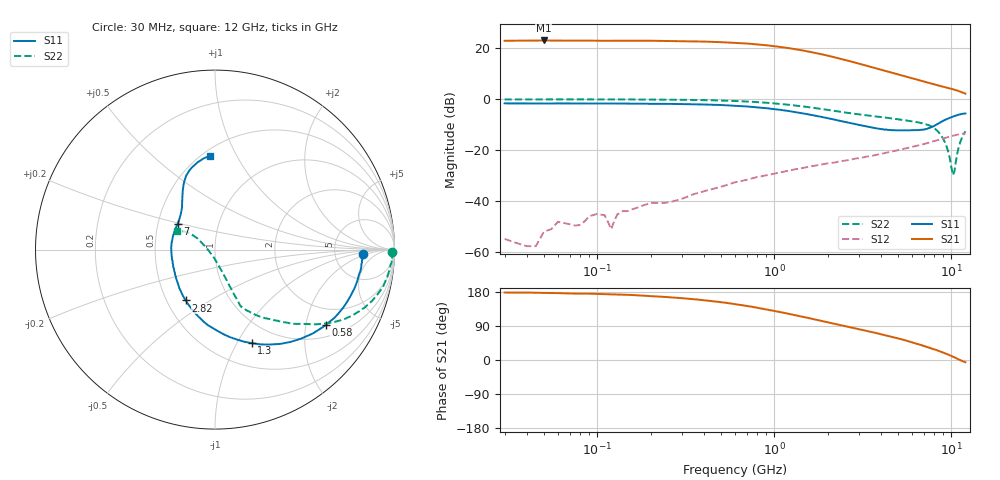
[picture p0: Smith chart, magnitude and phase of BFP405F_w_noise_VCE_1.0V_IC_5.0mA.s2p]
! Infineon Technologies  Discrete & RF Semiconductors
! BFP405F
! VCE =  1.0 V,  IC =  5.0 mA
! Common Emitter S-Parameters:  Nov 2015
# GHz  S  MA  R  50
!  f  S11  S21  S12  S22
! GHz  MAG  ANG  MAG  ANG  MAG  ANG  MAG  ANG
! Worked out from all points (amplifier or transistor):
!   239 points, 30 MHz to 12 GHz, reference 50 ohm
!   highest |S21| = 23.0 dB at 50 MHz (marker M1)
!   |S21| within 3 dB of that: start of sweep to 1.204 GHz
!   unconditionally stable (mu >= 1): 2.822 GHz to end of sweep
!   at 300 MHz: K = 0.14, MSG = 31.0 dB, |S12| = -39.2 dB
!   at 1.88 GHz: K = 0.71, MSG = 21.5 dB, |S12| = -25.6 dB
!   at 12 GHz: K = 1.46, MAG = 3.7 dB, |S12| = -13.4 dB
!   lowest NFmin = 1.29 dB at 450 MHz
!   S11 on the Smith chart (normalised r, x): 30 MHz: 10, -2; 580 MHz: 1.37, -2.59; 1.3 GHz: 0.76, -1.15; 2.82 GHz: 0.62, -0.40; 7 GHz: 0.63, +0.19; 12 GHz: 0.55, +0.78
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0.03  0.8244 -1.8  13.96 178.1  0.0018 31.1  0.9848 -0.9
0.045  0.819 -2.8  14.09 177.4  0.0013 125.3  0.9851 -1.2
0.05  0.8166 -3.3  14.16 176.9  0.0025 154.8  0.9834 -1.3
0.085  0.8212 -5.3  14.02 175.0  0.004 93.1  0.9881 -2.5
0.11  0.8207 -6.7  13.98 173.8  0.0053 70.9  0.9861 -3.2
0.12  0.82 -7.5  13.99 173.5  0.0028 108.3  0.987 -3.7
0.15  0.8152 -9.3  14.04 172.0  0.0064 85.1  0.9825 -4.7
0.24  0.808 -14.7  13.86 166.5  0.0092 83.2  0.9761 -7.6
0.4  0.7845 -24.2  13.46 157.8  0.0155 82.1  0.9593 -12.5
0.58  0.7458 -34.3  12.8 148.5  0.0224 74.1  0.9233 -17.7
0.6  0.7415 -35.4  12.73 147.4  0.0233 73.4  0.9197 -18.2
0.7  0.7175 -40.7  12.34 142.7  0.0261 71.4  0.898 -20.8
0.9  0.6642 -50.8  11.42 133.7  0.0318 67.4  0.8498 -25.5
1.3  0.5599 -68.6  9.611 118.5  0.0417 61.7  0.7523 -33.0
1.64  0.4861 -81.9  8.282 108.5  0.0484 59.3  0.6801 -37.7
2.2  0.3933 -101.8  6.592 95.1  0.0569 54.8  0.5856 -44.5
2.82  0.3269 -119.9  5.28 84.1  0.0673 52.4  0.5166 -49.7
4.5  0.2479 -162.1  3.379 62.6  0.0913 48.6  0.4232 -58.5
7  0.2529 145.3  2.211 37.0  0.1312 41.0  0.3299 -65.8
9  0.3763 118.5  1.748 19.4  0.1688 32.8  0.1652 -69.8
10.2  0.4532 109.4  1.561 9.0  0.1911 26.2  0.0324 -132.0
12  0.5218 93.1  1.281 -5.9  0.2135 16.9  0.2342 153.3
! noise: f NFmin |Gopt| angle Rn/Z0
0.45  1.29  0.38  5  0.34
0.9  1.3  0.35  13  0.36
1.5  1.37  0.33  18  0.31
1.9  1.4  0.31  25  0.32
2.4  1.56  0.29  33  0.34
3  1.63  0.27  45  0.32
3.5  1.68  0.25  54  0.31
4.5  1.84  0.2  66  0.28
5.5  2.06  0.12  78  0.11
